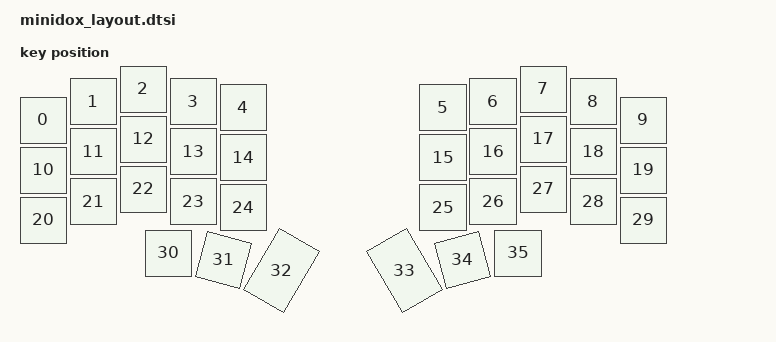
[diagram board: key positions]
#include <physical_layouts.dtsi>

#include "position_map.dtsi"

/ {
        skean_minidox_layout: skean_minidox_layout {
                compatible = "zmk,physical-layout";
                display-name = "Minidox";

                keys  //                 w   h    x    y     rot    rx    ry
                = <&key_physical_attrs 100 100    0   62       0     0     0>
                , <&key_physical_attrs 100 100  100   25       0     0     0>
                , <&key_physical_attrs 100 100  200    0       0     0     0>
                , <&key_physical_attrs 100 100  300   25       0     0     0>
                , <&key_physical_attrs 100 100  400   37       0     0     0>
                , <&key_physical_attrs 100 100  800   37       0     0     0>
                , <&key_physical_attrs 100 100  900   25       0     0     0>
                , <&key_physical_attrs 100 100 1000    0       0     0     0>
                , <&key_physical_attrs 100 100 1100   25       0     0     0>
                , <&key_physical_attrs 100 100 1200   62       0     0     0>
                , <&key_physical_attrs 100 100    0  162       0     0     0>
                , <&key_physical_attrs 100 100  100  125       0     0     0>
                , <&key_physical_attrs 100 100  200  100       0     0     0>
                , <&key_physical_attrs 100 100  300  125       0     0     0>
                , <&key_physical_attrs 100 100  400  137       0     0     0>
                , <&key_physical_attrs 100 100  800  137       0     0     0>
                , <&key_physical_attrs 100 100  900  125       0     0     0>
                , <&key_physical_attrs 100 100 1000  100       0     0     0>
                , <&key_physical_attrs 100 100 1100  125       0     0     0>
                , <&key_physical_attrs 100 100 1200  162       0     0     0>
                , <&key_physical_attrs 100 100    0  262       0     0     0>
                , <&key_physical_attrs 100 100  100  225       0     0     0>
                , <&key_physical_attrs 100 100  200  200       0     0     0>
                , <&key_physical_attrs 100 100  300  225       0     0     0>
                , <&key_physical_attrs 100 100  400  237       0     0     0>
                , <&key_physical_attrs 100 100  800  237       0     0     0>
                , <&key_physical_attrs 100 100  900  225       0     0     0>
                , <&key_physical_attrs 100 100 1000  200       0     0     0>
                , <&key_physical_attrs 100 100 1100  225       0     0     0>
                , <&key_physical_attrs 100 100 1200  262       0     0     0>
                , <&key_physical_attrs 100 100  250  328       0     0     0>
                , <&key_physical_attrs 100 100  361  342    1500   411   392>
                , <&key_physical_attrs 100 150  477  338    3000   527   413>
                , <&key_physical_attrs 100 150  723  338 (-3000)   773   413>
                , <&key_physical_attrs 100 100  839  342 (-1500)   889   392>
                , <&key_physical_attrs 100 100  950  328       0     0     0>
                ;
        };
};

&layouts_skean_position_map{
        minidox {
                physical-layout = <&skean_minidox_layout>;

                positions
                = <36 37  0  1  2  3  4        5  6  7  8  9 38 39>
                , <   40 10 11 12 13 14       15 16 17 18 19 41   >
                , <   42 20 21 22 23 24       25 26 27 28 29 43   >
                , <               30 31 32 33 34 35               >;
        };
};
